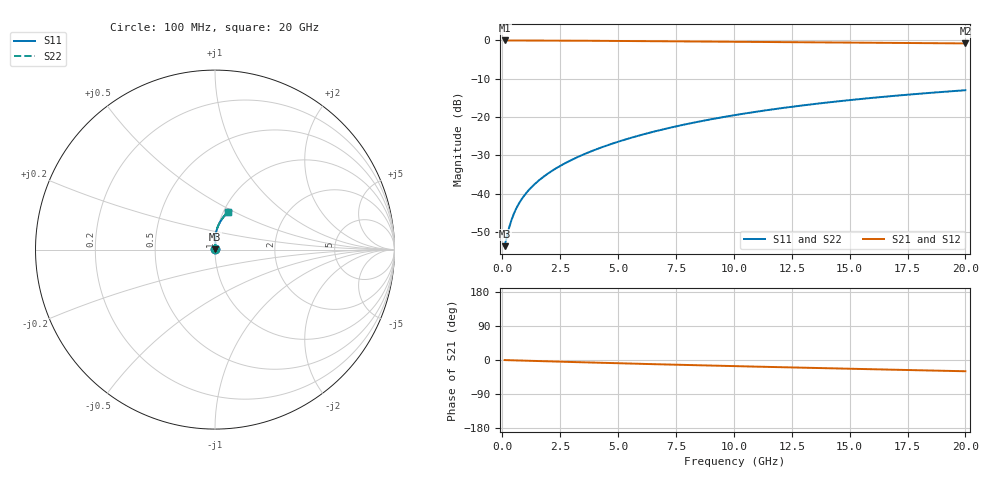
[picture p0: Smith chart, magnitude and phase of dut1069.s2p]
! Touchstone file exported from HFSS 2024.1.0
!  File:  C:/UserFiles/LocalFiles/RDL_TSV_Batchsim/temp_RDL_top_1069_1780045156.aedt
!  Generated:  05:01:21 PM May 29, 2026
!  Design:  RDL_top
!  Project:  temp_RDL_top_1069_1780045156
!  Setup:  Setup1
!  Solution:  Sweep
! Variables:
!  dtsv = 10.80580581um
!  hbump = 3um
!  htsv = 87.32um
!  ldown = 100um
!  lrdl = 472.73um
!  p = 40
!  p1 = 40.65um
!  rhole = 1um
!  t = 450um
!  tdown = 3.915915916um
!  trdl = 4.54um
!  wdown = 15.38538539um
!  wrdl = 23.9um
# GHz S MA R 50.000000
! Terminal data exported
! Port[1] = Box2_T1
! Port[2] = Box2_T2
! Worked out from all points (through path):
!   200 points, 100 MHz to 20 GHz, reference 50 ohm
!   highest |S21| = -0.02 dB at 100 MHz (marker M1); lowest = -0.8 dB at 20 GHz (marker M2)
!   group delay of S21, straight-line fit = 4.07 ps
!   lowest |S11| = -53.7 dB at 100 MHz (marker M3), VSWR 1.00, Z = 50.2 + j0.11 ohm
!   |S11| at or under -10 dB: start of sweep to end of sweep
!   |S22| runs from -53.7 to -13.0 dB; largest |S21 - S12| = 2.5e-15
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0.1  0.00206 32.0  0.9982 -0.2  0.9982 -0.2  0.00206 32.0
! Gamma 0 0 0 0
! Port Impedance 50 0 50 0
0.2  0.002777 51.1  0.9981 -0.4  0.9981 -0.4  0.002775 51.1
0.3  0.003642 61.4  0.9979 -0.6  0.9979 -0.6  0.003639 61.4
0.4  0.004549 67.2  0.9978 -0.7  0.9978 -0.7  0.004545 67.2
0.5  0.005461 70.9  0.9976 -0.9  0.9976 -0.9  0.005456 70.9
0.6  0.006365 73.3  0.9975 -1.1  0.9975 -1.1  0.00636 73.3
0.8  0.008141 76.4  0.9973 -1.4  0.9973 -1.4  0.008136 76.4
1.1  0.01074 79.1  0.9968 -2.0  0.9968 -2.0  0.01074 79.1
1.5  0.01418 81.5  0.9961 -2.7  0.9961 -2.7  0.01418 81.6
2.1  0.01941 84.1  0.9948 -3.7  0.9948 -3.7  0.01941 84.1
2.7  0.02482 85.9  0.993 -4.8  0.993 -4.8  0.02482 85.9
3.5  0.03236 87.5  0.9902 -6.1  0.9902 -6.1  0.03236 87.5
4.2  0.03927 88.3  0.9873 -7.3  0.9873 -7.3  0.03927 88.3
5  0.04753 88.8  0.9838 -8.6  0.9838 -8.6  0.04753 88.8
5.9  0.05723 88.9  0.9795 -10.0  0.9795 -10.0  0.05724 88.9
6.8  0.06733 88.6  0.9751 -11.4  0.9751 -11.4  0.06733 88.6
8.4  0.08603 87.4  0.9671 -13.8  0.9671 -13.8  0.08603 87.4
10.1  0.1066 85.5  0.9587 -16.3  0.9587 -16.3  0.1066 85.4
11.7  0.1261 83.3  0.951 -18.5  0.951 -18.5  0.1261 83.3
13.4  0.1469 80.8  0.943 -20.9  0.943 -20.9  0.1469 80.7
16.7  0.1863 75.7  0.928 -25.4  0.928 -25.4  0.1863 75.6
20  0.2236 70.6  0.9134 -29.7  0.9134 -29.7  0.2236 70.6
